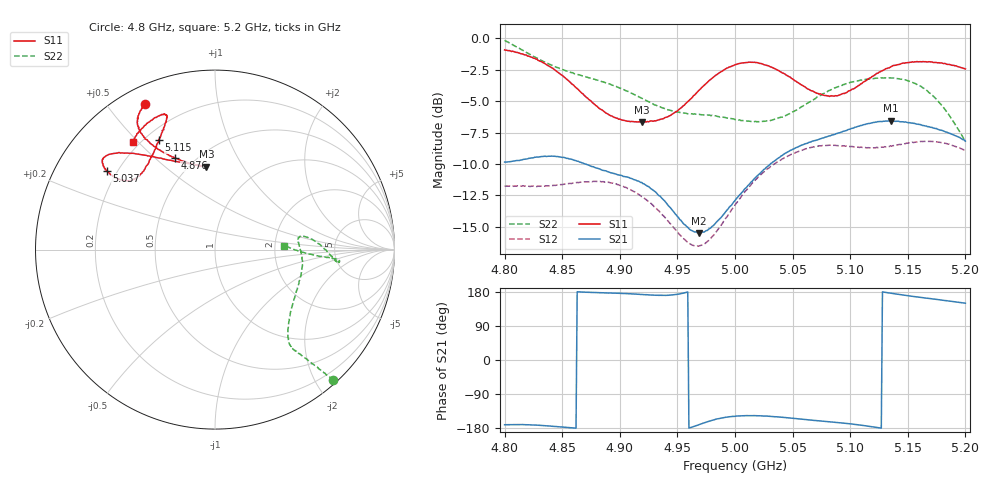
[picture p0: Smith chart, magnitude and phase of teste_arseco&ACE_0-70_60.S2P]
! Network Analyzer HP8722D
! Hewlett-Packard
! Data name: Linha & Wilkinson
! Saver's name: Rodrigo Anjos
! Comments: Teste da utilização de aquisição
! continua pelo VNA HP8722D
! Time and date: 8/5/2025 13:15
!  Frequency  S11  S21  S12  S22
# HZ  S  MA R 50
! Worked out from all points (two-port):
!   401 points, 4.8 GHz to 5.2 GHz, reference 50 ohm
!   highest |S21| = -6.54 dB at 5.135 GHz (marker M1); lowest = -15.5 dB at 4.969 GHz (marker M2)
!   |S21| within 3 dB of the highest: 4.822 GHz to 4.853 GHz (31.22 MHz wide, 0.645 % of centre); 5.037 GHz to end of sweep
!   lowest |S11| = -6.7 dB at 4.919 GHz (marker M3), VSWR 2.73, Z = 29.9 + j35.3 ohm
!   |S11| at or under -10 dB: nowhere
!   |S22| runs from -8.2 to -0.2 dB; largest |S21 - S12| = 0.83
!   S11 on the Smith chart (normalised r, x): 4.8 GHz: 0.07, +0.63; 4.876 GHz: 0.39, +0.58; 5.037 GHz: 0.16, +0.32; 5.115 GHz: 0.25, +0.58; 5.2 GHz: 0.17, +0.48
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4.8e9  0.9008 115.5  0.3217 -170.8  0.2579 -86.1  0.9818 -47.8
4.834e9  0.7995 122.2  0.339 -173.2  0.2582 -77.1  0.808 -49.9
4.849e9  0.7175 121.7  0.3366 -176.8  0.2619 -72.1  0.7548 -50.7
4.867e9  0.6055 117.5  0.3196 179.3  0.2677 -67.8  0.7108 -51.8
4.876e9  0.5563 113.7  0.3086 178.1  0.2687 -66.8  0.6918 -52.2
4.901e9  0.4749 100.3  0.285 175.8  0.2587 -67.3  0.6325 -50.0
4.919e9  0.4643 95.9  0.267 173.0  0.2347 -69.3  0.578 -44.6
4.934e9  0.4744 99.3  0.2364 170.6  0.2057 -69.8  0.5351 -37.0
4.956e9  0.542 114.8  0.1815 177.0  0.1585 -60.8  0.5041 -22.5
4.969e9  0.623 123.8  0.1676 -170.3  0.1491 -46.8  0.4985 -14.7
4.98e9  0.6934 129.7  0.1781 -159.0  0.162 -34.3  0.4939 -9.0
5e9  0.7851 137.2  0.226 -148.6  0.2169 -21.5  0.475 -0.1
5.018e9  0.8014 141.4  0.2799 -147.0  0.2741 -18.7  0.4671 5.8
5.037e9  0.747 143.9  0.3323 -150.1  0.3226 -18.9  0.4806 8.8
5.067e9  0.618 141.7  0.3895 -158.8  0.369 -21.2  0.5658 4.1
5.088e9  0.591 132.5  0.4178 -164.7  0.3743 -24.4  0.6382 -2.3
5.115e9  0.6866 117.1  0.4573 -174.4  0.3669 -27.3  0.6888 -6.0
5.134e9  0.7635 110.8  0.4685 177.0  0.3711 -29.4  0.6966 -5.4
5.135e9  0.7694 110.7  0.4709 176.5  0.3735 -29.5  0.6967 -5.2
5.163e9  0.8087 112.7  0.4501 164.5  0.3884 -36.4  0.6359 -4.0
5.18e9  0.7968 118.7  0.4297 158.0  0.3844 -41.8  0.538 -2.8
5.2e9  0.756 127.4  0.3901 149.8  0.3578 -47.2  0.3876 3.3
